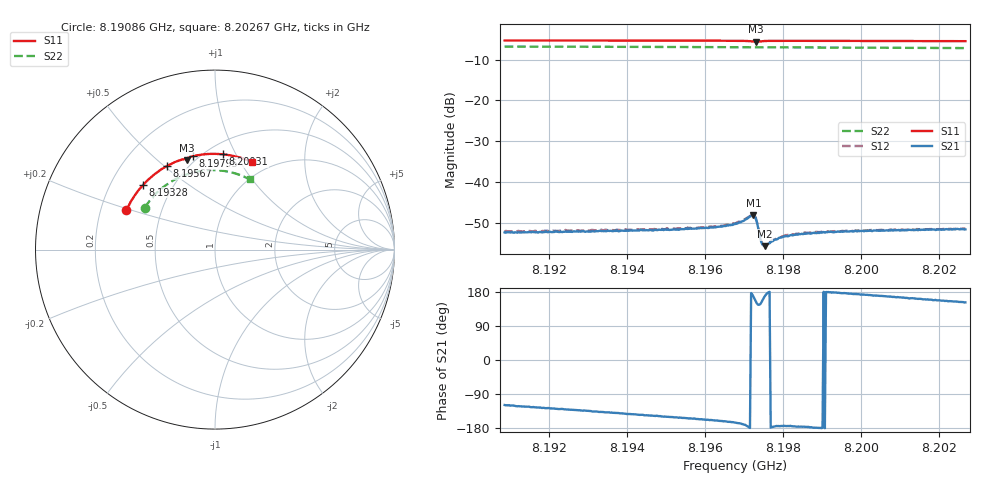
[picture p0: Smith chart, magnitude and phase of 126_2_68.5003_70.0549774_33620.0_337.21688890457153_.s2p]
#  HZ  S  RI  R  50.00
! Rohde & Schwarz Vector Network Analyzer
! Rohde-Schwarz,ZNB20-2Port,1311601062101988,3.16
! Created: UTC 3/20/2024, 5:09:19 PM
! freq[Hz]  re:S11  im:S11  re:S21  im:S21  re:S12  im:S12  re:S22  im:S22
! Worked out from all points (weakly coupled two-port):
!   401 points, 8.19086 GHz to 8.20267 GHz, reference 50 ohm
!   highest |S21| = -48.10 dB at 8.19724 GHz (marker M1); lowest = -55.6 dB at 8.19753 GHz (marker M2)
!   lowest |S11| = -5.6 dB at 8.1973 GHz (marker M3), VSWR 3.18, Z = 22.9 + j31.3 ohm
!   |S11| at or under -10 dB: nowhere
!   |S22| runs from -7.2 to -6.8 dB; largest |S21 - S12| = 0.0002
!   S11 on the Smith chart (normalised r, x): 8.19086 GHz: 0.31, +0.19; 8.19328 GHz: 0.34, +0.35; 8.19567 GHz: 0.39, +0.51; 8.19795 GHz: 0.47, +0.68; 8.20031 GHz: 0.60, +0.89; 8.20267 GHz: 0.83, +1.12
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8.19086e9  -0.4935 0.2203  -0.00118 -0.00214  -0.00128 -0.00214  -0.3909 0.2337
8.192838e9  -0.4202 0.3381  -0.00173 -0.00183  -0.00183 -0.00183  -0.3215 0.319
8.193281e9  -0.3998 0.3617  -0.00186 -0.00173  -0.00194 -0.00171  -0.3033 0.3356
8.194816e9  -0.3189 0.4333  -0.00225 -0.0014  -0.00233 -0.00129  -0.2333 0.3851
8.195672e9  -0.2678 0.4656  -0.00245 -0.00116  -0.00256 -0.00106  -0.1901 0.4065
8.19641e9  -0.2204 0.4889  -0.00272 -0.000939  -0.00282 -0.000844  -0.1513 0.4212
8.196764e9  -0.196 0.4983  -0.00298 -0.000803  -0.00306 -0.000697  -0.1323 0.4269
8.196942e9  -0.1829 0.5022  -0.00326 -0.000642  -0.00333 -0.000512  -0.1226 0.4295
8.197178e9  -0.1633 0.5028  -0.00386 0.000221  -0.00393 0.000373  -0.1094 0.4325
8.197237e9  -0.1593 0.5003  -0.00384 0.000871  -0.00388 0.00103  -0.1063 0.4331
8.197296e9  -0.1587 0.4972  -0.00323 0.00153  -0.0033 0.0017  -0.1031 0.4337
8.197325e9  -0.1598 0.4973  -0.0028 0.00167  -0.00275 0.00176  -0.1016 0.4342
8.197443e9  -0.159 0.5044  -0.00163 0.000841  -0.00163 0.000945  -0.0953 0.4355
8.197473e9  -0.1574 0.5064  -0.0016 0.000631  -0.0016 0.000707  -0.0936 0.4357
8.197532e9  -0.1532 0.5097  -0.00163 0.000316  -0.00166 0.000406  -0.0904 0.4365
8.197739e9  -0.1376 0.5164  -0.00191 -0.000122  -0.00197 -2.79e-05  -0.0788 0.4383
8.197945e9  -0.1225 0.5206  -0.0021 -0.000224  -0.00214 -0.00011  -0.067 0.4399
8.198123e9  -0.1098 0.5234  -0.00217 -0.000226  -0.00227 -0.000156  -0.0571 0.441
8.198743e9  -0.0656 0.5303  -0.00239 -9.1e-05  -0.00245 1.42e-05  -0.0222 0.4431
8.200307e9  0.0453 0.5308  -0.00253 0.000463  -0.00255 0.00053  0.0666 0.4357
8.200721e9  0.0742 0.527  -0.00252 0.000573  -0.00253 0.000699  0.0896 0.4307
8.202669e9  0.206 0.488  -0.00235 0.00125  -0.00234 0.00137  0.1935 0.3908
